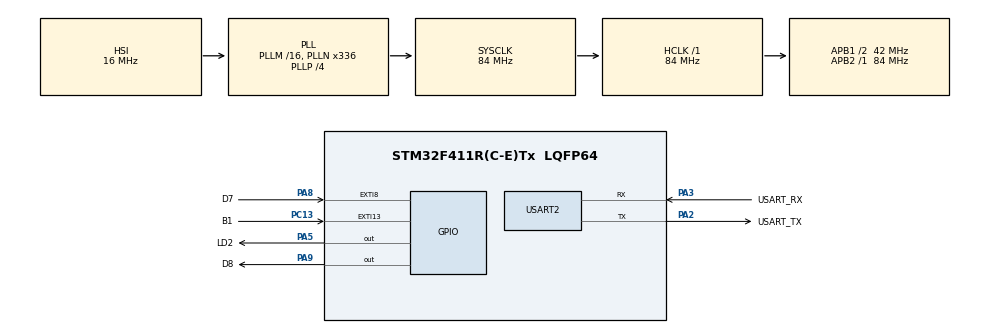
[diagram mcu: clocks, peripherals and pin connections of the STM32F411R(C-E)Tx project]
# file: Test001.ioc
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Mcu.Family=STM32F4
Mcu.Name=STM32F411R(C-E)Tx
Mcu.Package=LQFP64
NVIC.EXTI15_10_IRQn=true\:0\:0\:false\:false\:true\:true\:true\:true
NVIC.EXTI9_5_IRQn=true\:0\:0\:false\:false\:true\:true\:true\:true
NVIC.PriorityGroup=NVIC_PRIORITYGROUP_0
PA13.GPIO_Label=TMS
PA13.Mode=Serial_Wire
PA13.Signal=SYS_JTMS-SWDIO
PA14.GPIO_Label=TCK
PA14.Mode=Serial_Wire
PA14.Signal=SYS_JTCK-SWCLK
PA2.GPIO_Label=USART_TX
PA2.Mode=Asynchronous
PA2.Signal=USART2_TX
PA3.GPIO_Label=USART_RX
PA3.Mode=Asynchronous
PA3.Signal=USART2_RX
PA5.GPIO_Label=LD2 
PA5.Signal=GPIO_Output
PA8.GPIO_Label=D7
PA8.Signal=GPXTI8
PA9.GPIO_Label=D8
PA9.Signal=GPIO_Output
PB3.GPIO_Label=SWO
PB3.Signal=SYS_JTDO-SWO
PC13-ANTI_TAMP.GPIO_Label=B1
PC13-ANTI_TAMP.Signal=GPXTI13
PC14-OSC32_IN.Mode=LSE-External-Oscillator
PC14-OSC32_IN.Signal=RCC_OSC32_IN
PC15-OSC32_OUT.Mode=LSE-External-Oscillator
PC15-OSC32_OUT.Signal=RCC_OSC32_OUT
PH0\ -\ OSC_IN.Mode=HSE-External-Clock-Source
PH0\ -\ OSC_IN.Signal=RCC_OSC_IN
PH1\ -\ OSC_OUT.Mode=HSE-External-Clock-Source
PH1\ -\ OSC_OUT.Signal=RCC_OSC_OUT
ProjectManager.HeapSize=0x200
ProjectManager.StackSize=0x400
ProjectManager.TargetToolchain=STM32CubeIDE
RCC.48MHZClocksFreq_Value=84000000
RCC.AHBFreq_Value=84000000
RCC.APB1CLKDivider=RCC_HCLK_DIV2
RCC.APB1Freq_Value=42000000
RCC.APB1TimFreq_Value=84000000
RCC.APB2Freq_Value=84000000
RCC.APB2TimFreq_Value=84000000
RCC.CortexFreq_Value=84000000
RCC.FLatency-AdvancedSettings=FLASH_LATENCY_2
RCC.HCLKFreq_Value=84000000
RCC.HSE_VALUE=8000000
RCC.HSI_VALUE=16000000
RCC.PLLN=336
RCC.PLLP=RCC_PLLP_DIV4
RCC.SYSCLKFreq_VALUE=84000000
RCC.SYSCLKSource=RCC_SYSCLKSOURCE_PLLCLK
RCC.VCOOutputFreq_Value=336000000
USART2.VirtualMode=VM_ASYNC
board=NUCLEO-F411RE

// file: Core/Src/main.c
/* USER CODE BEGIN Header */
/**
  ******************************************************************************
  * @file           : main.c
  * @brief          : Main program body
  ******************************************************************************
  * @attention
  *
  * Copyright (c) 2024 STMicroelectronics.
  * All rights reserved.
  *
  * This software is licensed under terms that can be found in the LICENSE file
  * in the root directory of this software component.
  * If no LICENSE file comes with this software, it is provided AS-IS.
  *
  ******************************************************************************
  */
/* USER CODE END Header */
#include "main.h"

/* USER CODE BEGIN Includes */
#include <stdio.h>"
/* USER CODE END Includes */

UART_HandleTypeDef huart2;

void SystemClock_Config(void);
static void MX_GPIO_Init(void);
static void MX_USART2_UART_Init(void);

/* USER CODE BEGIN 0 */
void StandBy()
{
	while(1)
	  {
		  if(!HAL_GPIO_ReadPin(GPIOC,GPIO_PIN_13))
			  break;
	  }
}

int mode = 0;//mode 0 : stop, mode 1 : flash
volatile int delay_t = 500;

void HAL_GPIO_EXTI_Callback(uint16_t GPIO_Pin)
{
	switch(GPIO_Pin)
	{
	case D7_Pin:
		delay_t -= (delay_t <100) ? 500 : delay_t -100;

		break;

	case B1_Pin:
			mode = mode?0:1;
		break;

	}

}

/* USER CODE END 0 */

int main(void)
{

  /* MCU Configuration--------------------------------------------------------*/

  /* Reset of all peripherals, Initializes the Flash interface and the Systick. */
  HAL_Init();

  /* Configure the system clock */
  SystemClock_Config();

  /* Initialize all configured peripherals */
  MX_GPIO_Init();
  MX_USART2_UART_Init();
  /* USER CODE BEGIN 2 */
  	  StandBy();
  /* USER CODE END 2 */

  /* Infinite loop */
  while (1)
  {

    /* USER CODE BEGIN 3 */
	  if(mode)
	  {
		  HAL_GPIO_WritePin(GPIOA,GPIO_PIN_5, 1);
		  HAL_Delay(100);
		  HAL_GPIO_WritePin(GPIOA,GPIO_PIN_5, 0);
		  HAL_Delay(100);
	  }

	  else
	  {
		  HAL_GPIO_WritePin(GPIOA,GPIO_PIN_9, 1);
		 	  HAL_Delay(delay_t);//mili second
		 	  HAL_GPIO_WritePin(GPIOA,GPIO_PIN_9, 0);
		 	  HAL_Delay(delay_t);
	  }

  }
  /* USER CODE END 3 */
}

void SystemClock_Config(void)
{
  RCC_OscInitTypeDef RCC_OscInitStruct = {0};
  RCC_ClkInitTypeDef RCC_ClkInitStruct = {0};

  /** Configure the main internal regulator output voltage
  */
  __HAL_RCC_PWR_CLK_ENABLE();
  __HAL_PWR_VOLTAGESCALING_CONFIG(PWR_REGULATOR_VOLTAGE_SCALE1);

  /** Initializes the RCC Oscillators according to the specified parameters
  * in the RCC_OscInitTypeDef structure.
  */
  RCC_OscInitStruct.OscillatorType = RCC_OSCILLATORTYPE_HSI;
  RCC_OscInitStruct.HSIState = RCC_HSI_ON;
  RCC_OscInitStruct.HSICalibrationValue = RCC_HSICALIBRATION_DEFAULT;
  RCC_OscInitStruct.PLL.PLLState = RCC_PLL_ON;
  RCC_OscInitStruct.PLL.PLLSource = RCC_PLLSOURCE_HSI;
  RCC_OscInitStruct.PLL.PLLM = 16;
  RCC_OscInitStruct.PLL.PLLN = 336;
  RCC_OscInitStruct.PLL.PLLP = RCC_PLLP_DIV4;
  RCC_OscInitStruct.PLL.PLLQ = 4;
  if (HAL_RCC_OscConfig(&RCC_OscInitStruct) != HAL_OK)
  {
    Error_Handler();
  }

  /** Initializes the CPU, AHB and APB buses clocks
  */
  RCC_ClkInitStruct.ClockType = RCC_CLOCKTYPE_HCLK|RCC_CLOCKTYPE_SYSCLK
                              |RCC_CLOCKTYPE_PCLK1|RCC_CLOCKTYPE_PCLK2;
  RCC_ClkInitStruct.SYSCLKSource = RCC_SYSCLKSOURCE_PLLCLK;
  RCC_ClkInitStruct.AHBCLKDivider = RCC_SYSCLK_DIV1;
  RCC_ClkInitStruct.APB1CLKDivider = RCC_HCLK_DIV2;
  RCC_ClkInitStruct.APB2CLKDivider = RCC_HCLK_DIV1;

  if (HAL_RCC_ClockConfig(&RCC_ClkInitStruct, FLASH_LATENCY_2) != HAL_OK)
  {
    Error_Handler();
  }
}

static void MX_USART2_UART_Init(void)
{

  huart2.Instance = USART2;
  huart2.Init.BaudRate = 115200;
  huart2.Init.WordLength = UART_WORDLENGTH_8B;
  huart2.Init.StopBits = UART_STOPBITS_1;
  huart2.Init.Parity = UART_PARITY_NONE;
  huart2.Init.Mode = UART_MODE_TX_RX;
  huart2.Init.HwFlowCtl = UART_HWCONTROL_NONE;
  huart2.Init.OverSampling = UART_OVERSAMPLING_16;
  if (HAL_UART_Init(&huart2) != HAL_OK)
  {
    Error_Handler();
  }

}

static void MX_GPIO_Init(void)
{
  GPIO_InitTypeDef GPIO_InitStruct = {0};

  /* GPIO Ports Clock Enable */
  __HAL_RCC_GPIOC_CLK_ENABLE();
  __HAL_RCC_GPIOH_CLK_ENABLE();
  __HAL_RCC_GPIOA_CLK_ENABLE();
  __HAL_RCC_GPIOB_CLK_ENABLE();

  /*Configure GPIO pin Output Level */
  HAL_GPIO_WritePin(GPIOA, LD2_Pin|D8_Pin, GPIO_PIN_RESET);

  /*Configure GPIO pin : B1_Pin */
  GPIO_InitStruct.Pin = B1_Pin;
  GPIO_InitStruct.Mode = GPIO_MODE_IT_RISING;
  GPIO_InitStruct.Pull = GPIO_NOPULL;
  HAL_GPIO_Init(B1_GPIO_Port, &GPIO_InitStruct);

  /*Configure GPIO pins : LD2_Pin D8_Pin */
  GPIO_InitStruct.Pin = LD2_Pin|D8_Pin;
  GPIO_InitStruct.Mode = GPIO_MODE_OUTPUT_PP;
  GPIO_InitStruct.Pull = GPIO_NOPULL;
  GPIO_InitStruct.Speed = GPIO_SPEED_FREQ_LOW;
  HAL_GPIO_Init(GPIOA, &GPIO_InitStruct);

  /*Configure GPIO pin : D7_Pin */
  GPIO_InitStruct.Pin = D7_Pin;
  GPIO_InitStruct.Mode = GPIO_MODE_IT_RISING;
  GPIO_InitStruct.Pull = GPIO_NOPULL;
  HAL_GPIO_Init(D7_GPIO_Port, &GPIO_InitStruct);

  /* EXTI interrupt init*/
  HAL_NVIC_SetPriority(EXTI9_5_IRQn, 0, 0);
  HAL_NVIC_EnableIRQ(EXTI9_5_IRQn);

  HAL_NVIC_SetPriority(EXTI15_10_IRQn, 0, 0);
  HAL_NVIC_EnableIRQ(EXTI15_10_IRQn);

}

void Error_Handler(void)
{
  __disable_irq();
  while (1)
  {
  }
}
